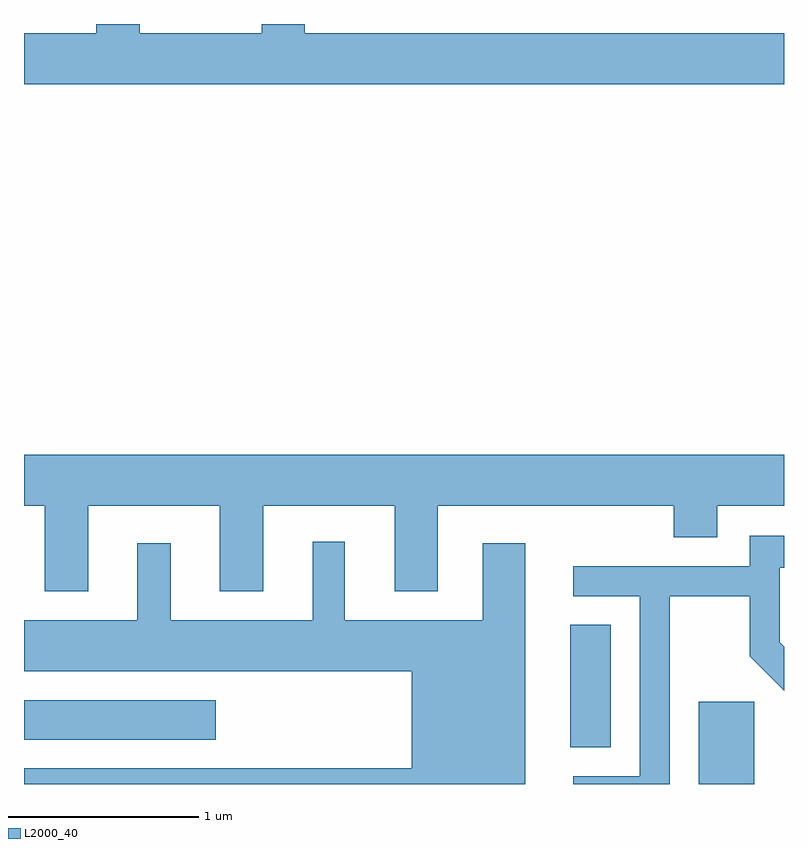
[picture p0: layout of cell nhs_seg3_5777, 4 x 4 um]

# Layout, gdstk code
import gdstk
lib = gdstk.Library(unit=1e-6, precision=1e-09)
def R(c, l, rs):  # rectangles x0, y0, x1, y1
    for r in rs: c.add(gdstk.rectangle(r[:2], r[2:], *l))
def P(c, l, *ps):  # polygons
    for p in ps: c.add(gdstk.Polygon(p, *l))
L2000_40 = (2000, 40)

nhs_seg3_5777 = lib.new_cell('nhs_seg3_5777')
R(nhs_seg3_5777, L2000_40, [(359.161,1117.892,359.454,1118.324), (358.486,1118.086,358.699,1118.729), (355.611,1118.126,356.619,1118.334)])
P(nhs_seg3_5777, L2000_40, [(359.611,1121.844),(357.089,1121.844),(357.089,1121.892),(356.861,1121.892),(356.861,1121.844),(356.219,1121.844),(356.219,1121.892),(355.991,1121.892),(355.991,1121.844),(355.611,1121.844),(355.611,1121.576),(359.611,1121.576)],
  [(355.949,1119.356),(356.641,1119.356),(356.641,1118.906),(356.869,1118.906),(356.869,1119.356),(357.561,1119.356),(357.561,1118.906),(357.789,1118.906),(357.789,1119.356),(359.031,1119.356),(359.031,1119.191),(359.259,1119.191),(359.259,1119.356),(359.611,1119.356),(359.611,1119.624),(355.611,1119.624),(355.611,1119.356),(355.721,1119.356),(355.721,1118.906),(355.949,1118.906)],
  [(359.009,1118.881),(359.431,1118.881),(359.431,1118.564),(359.611,1118.384),(359.611,1118.615),(359.589,1118.637),(359.589,1119.031),(359.611,1119.031),(359.611,1119.199),(359.431,1119.199),(359.431,1119.039),(358.503,1119.039),(358.503,1118.881),(358.851,1118.881),(358.851,1117.934),(358.503,1117.934),(358.503,1117.892),(359.009,1117.892)],
  [(358.249,1119.159),(358.026,1119.159),(358.026,1118.754),(357.299,1118.754),(357.299,1119.168),(357.131,1119.168),(357.131,1118.754),(356.384,1118.754),(356.384,1119.159),(356.206,1119.159),(356.206,1118.754),(355.611,1118.754),(355.611,1118.486),(357.651,1118.486),(357.651,1117.974),(355.611,1117.974),(355.611,1117.892),(358.249,1117.892)])

lib.write_gds('nhs_seg3_5777.gds')
